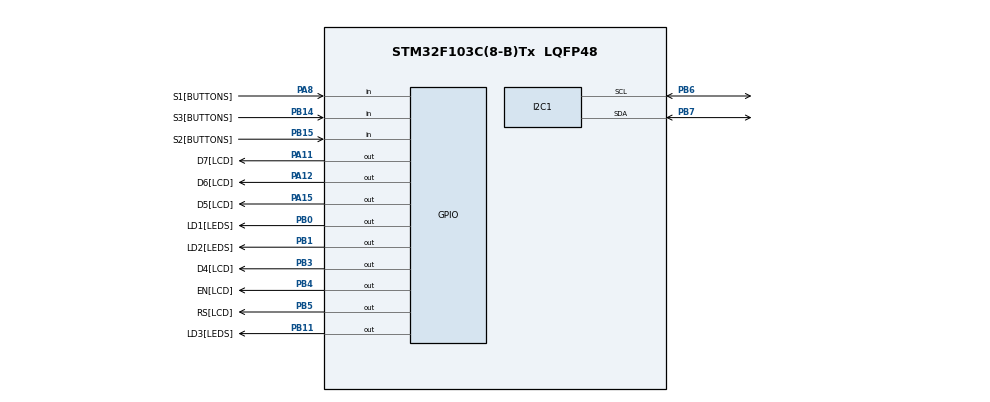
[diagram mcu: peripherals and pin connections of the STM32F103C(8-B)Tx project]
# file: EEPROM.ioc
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I2C1.I2C_Mode=I2C_Standard
Mcu.Family=STM32F1
Mcu.Name=STM32F103C(8-B)Tx
Mcu.Package=LQFP48
NVIC.PriorityGroup=NVIC_PRIORITYGROUP_4
PA11.GPIO_Label=D7[LCD]
PA11.Signal=GPIO_Output
PA12.GPIO_Label=D6[LCD]
PA12.Signal=GPIO_Output
PA13.Mode=Serial_Wire
PA13.Signal=SYS_JTMS-SWDIO
PA14.Mode=Serial_Wire
PA14.Signal=SYS_JTCK-SWCLK
PA15.GPIO_Label=D5[LCD]
PA15.Signal=GPIO_Output
PA8.GPIO_Label=S1[BUTTONS]
PA8.Signal=GPIO_Input
PB0.GPIO_Label=LD1[LEDS]
PB0.Signal=GPIO_Output
PB1.GPIO_Label=LD2[LEDS]
PB1.Signal=GPIO_Output
PB11.GPIO_Label=LD3[LEDS]
PB11.Signal=GPIO_Output
PB14.GPIO_Label=S3[BUTTONS]
PB14.Signal=GPIO_Input
PB15.GPIO_Label=S2[BUTTONS]
PB15.Signal=GPIO_Input
PB3.GPIO_Label=D4[LCD]
PB3.Signal=GPIO_Output
PB4.GPIO_Label=EN[LCD]
PB4.Signal=GPIO_Output
PB5.GPIO_Label=RS[LCD]
PB5.Signal=GPIO_Output
PB6.Mode=I2C
PB6.Signal=I2C1_SCL
PB7.Mode=I2C
PB7.Signal=I2C1_SDA
ProjectManager.HeapSize=0x200
ProjectManager.StackSize=0x400
ProjectManager.TargetToolchain=TrueSTUDIO
RCC.APB1Freq_Value=8000000
RCC.APB2Freq_Value=8000000
board=EEPROM

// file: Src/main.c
/**
  ******************************************************************************
  * @file           : main.c
  * @brief          : Main program body
  ******************************************************************************
  ** This notice applies to any and all portions of this file
  * that are not between comment pairs USER CODE BEGIN and
  * USER CODE END. Other portions of this file, whether
  * inserted by the user or by software development tools
  * are owned by their respective copyright owners.
  *
  * COPYRIGHT(c) 2018 STMicroelectronics
  *
  * Redistribution and use in source and binary forms, with or without modification,
  * are permitted provided that the following conditions are met:
  *   1. Redistributions of source code must retain the above copyright notice,
  *      this list of conditions and the following disclaimer.
  *   2. Redistributions in binary form must reproduce the above copyright notice,
  *      this list of conditions and the following disclaimer in the documentation
  *      and/or other materials provided with the distribution.
  *   3. Neither the name of STMicroelectronics nor the names of its contributors
  *      may be used to endorse or promote products derived from this software
  *      without specific prior written permission.
  *
  * THIS SOFTWARE IS PROVIDED BY THE COPYRIGHT HOLDERS AND CONTRIBUTORS "AS IS"
  * AND ANY EXPRESS OR IMPLIED WARRANTIES, INCLUDING, BUT NOT LIMITED TO, THE
  * IMPLIED WARRANTIES OF MERCHANTABILITY AND FITNESS FOR A PARTICULAR PURPOSE ARE
  * DISCLAIMED. IN NO EVENT SHALL THE COPYRIGHT HOLDER OR CONTRIBUTORS BE LIABLE
  * FOR ANY DIRECT, INDIRECT, INCIDENTAL, SPECIAL, EXEMPLARY, OR CONSEQUENTIAL
  * DAMAGES (INCLUDING, BUT NOT LIMITED TO, PROCUREMENT OF SUBSTITUTE GOODS OR
  * SERVICES; LOSS OF USE, DATA, OR PROFITS; OR BUSINESS INTERRUPTION) HOWEVER
  * CAUSED AND ON ANY THEORY OF LIABILITY, WHETHER IN CONTRACT, STRICT LIABILITY,
  * OR TORT (INCLUDING NEGLIGENCE OR OTHERWISE) ARISING IN ANY WAY OUT OF THE USE
  * OF THIS SOFTWARE, EVEN IF ADVISED OF THE POSSIBILITY OF SUCH DAMAGE.
  *
  ******************************************************************************
  */
#include "main.h"
#include "stm32f1xx_hal.h"

I2C_HandleTypeDef hi2c1;

/* USER CODE BEGIN PV */
/* Private variables ---------------------------------------------------------*/

uint8_t data[5]={0x01,0x03,0x04,0xAA,0xF0};
uint8_t data1[5]={0,0,0,0,0};
uint8_t init[2]={0,0};
uint8_t r_adr=0x00;

/* USER CODE END PV */

void SystemClock_Config(void);
static void MX_GPIO_Init(void);
static void MX_I2C1_Init(void);

/* USER CODE BEGIN PFP */
/* Private function prototypes -----------------------------------------------*/

/* USER CODE END PFP */

/* USER CODE BEGIN 0 */

void write_lcd (uint8_t data, uint8_t cmd_data)
{
	// identifica comando ou dado
	if (cmd_data) HAL_GPIO_WritePin(RS_GPIO_Port, RS_Pin, GPIO_PIN_SET);
	else 					HAL_GPIO_WritePin(RS_GPIO_Port, RS_Pin, GPIO_PIN_RESET);

	// 4 bits high
	if (data & 0x80) HAL_GPIO_WritePin (D7_GPIO_Port, D7_Pin, GPIO_PIN_SET);
	else						 HAL_GPIO_WritePin (D7_GPIO_Port, D7_Pin, GPIO_PIN_RESET);
	if (data & 0x40) HAL_GPIO_WritePin (D6_GPIO_Port, D6_Pin, GPIO_PIN_SET);
	else						 HAL_GPIO_WritePin (D6_GPIO_Port, D6_Pin, GPIO_PIN_RESET);
	if (data & 0x20) HAL_GPIO_WritePin (D5_GPIO_Port, D5_Pin, GPIO_PIN_SET);
	else						 HAL_GPIO_WritePin (D5_GPIO_Port, D5_Pin, GPIO_PIN_RESET);
	if (data & 0x10) HAL_GPIO_WritePin (D4_GPIO_Port, D4_Pin, GPIO_PIN_SET);
	else						 HAL_GPIO_WritePin (D4_GPIO_Port, D4_Pin, GPIO_PIN_RESET);

	HAL_GPIO_WritePin(EN_GPIO_Port, EN_Pin, GPIO_PIN_SET);
	HAL_Delay(2);
	HAL_GPIO_WritePin(EN_GPIO_Port, EN_Pin, GPIO_PIN_RESET);

	// 4 bits Low
	if (data & 0x08) HAL_GPIO_WritePin (D7_GPIO_Port, D7_Pin, GPIO_PIN_SET);
	else						 HAL_GPIO_WritePin (D7_GPIO_Port, D7_Pin, GPIO_PIN_RESET);
	if (data & 0x04) HAL_GPIO_WritePin (D6_GPIO_Port, D6_Pin, GPIO_PIN_SET);
	else						 HAL_GPIO_WritePin (D6_GPIO_Port, D6_Pin, GPIO_PIN_RESET);
	if (data & 0x02) HAL_GPIO_WritePin (D5_GPIO_Port, D5_Pin, GPIO_PIN_SET);
	else						 HAL_GPIO_WritePin (D5_GPIO_Port, D5_Pin, GPIO_PIN_RESET);
	if (data & 0x01) HAL_GPIO_WritePin (D4_GPIO_Port, D4_Pin, GPIO_PIN_SET);
	else						 HAL_GPIO_WritePin (D4_GPIO_Port, D4_Pin, GPIO_PIN_RESET);

	HAL_GPIO_WritePin(EN_GPIO_Port, EN_Pin, GPIO_PIN_SET);
	HAL_Delay(2);
	HAL_GPIO_WritePin(EN_GPIO_Port, EN_Pin, GPIO_PIN_RESET);
}

/* init_LCD - Inicializa o display em 4bits */
void init_lcd(void)
{
	write_lcd(0x33, 0);
	write_lcd(0x32, 0);
	write_lcd(0x28, 0);
	write_lcd(0x06, 0);
	write_lcd(0x0C, 0);
	write_lcd(0x01, 0);
}

/* string_lcd - escreve string no LCD */
void string_lcd (char *string)
{
	while(*string) write_lcd(*string++, 1);
}

/* USER CODE END 0 */

int main(void)
{

  /* MCU Configuration----------------------------------------------------------*/

  /* Reset of all peripherals, Initializes the Flash interface and the Systick. */
  HAL_Init();

  /* Configure the system clock */
  SystemClock_Config();

  /* Initialize all configured peripherals */
  MX_GPIO_Init();
  MX_I2C1_Init();
  /* USER CODE BEGIN 2 */

      init_lcd();
 	  write_lcd(0x80,0);
 	  string_lcd("DSF 2018");
 	  write_lcd(0xC0,0);
 	  string_lcd("I'm Alive!!");

  /* USER CODE END 2 */

  /* Infinite loop */
  while (1)
  {

  /* USER CODE BEGIN 3 */

	  //HAL_I2C_Mem_Write(&hi2c1,0xA0,0x03,I2C_MEMADD_SIZE_16BIT,data,5,100);

	  //HAL_Delay(1000);

	 // HAL_I2C_Mem_Read(&hi2c1,0xA0,0x03,I2C_MEMADD_SIZE_16BIT,data1,5,100);

  }
  /* USER CODE END 3 */

}

void SystemClock_Config(void)
{

  RCC_OscInitTypeDef RCC_OscInitStruct;
  RCC_ClkInitTypeDef RCC_ClkInitStruct;

    /**Initializes the CPU, AHB and APB busses clocks
    */
  RCC_OscInitStruct.OscillatorType = RCC_OSCILLATORTYPE_HSI;
  RCC_OscInitStruct.HSIState = RCC_HSI_ON;
  RCC_OscInitStruct.HSICalibrationValue = 16;
  RCC_OscInitStruct.PLL.PLLState = RCC_PLL_NONE;
  if (HAL_RCC_OscConfig(&RCC_OscInitStruct) != HAL_OK)
  {
    _Error_Handler(__FILE__, __LINE__);
  }

    /**Initializes the CPU, AHB and APB busses clocks
    */
  RCC_ClkInitStruct.ClockType = RCC_CLOCKTYPE_HCLK|RCC_CLOCKTYPE_SYSCLK
                              |RCC_CLOCKTYPE_PCLK1|RCC_CLOCKTYPE_PCLK2;
  RCC_ClkInitStruct.SYSCLKSource = RCC_SYSCLKSOURCE_HSI;
  RCC_ClkInitStruct.AHBCLKDivider = RCC_SYSCLK_DIV1;
  RCC_ClkInitStruct.APB1CLKDivider = RCC_HCLK_DIV1;
  RCC_ClkInitStruct.APB2CLKDivider = RCC_HCLK_DIV1;

  if (HAL_RCC_ClockConfig(&RCC_ClkInitStruct, FLASH_LATENCY_0) != HAL_OK)
  {
    _Error_Handler(__FILE__, __LINE__);
  }

    /**Configure the Systick interrupt time
    */
  HAL_SYSTICK_Config(HAL_RCC_GetHCLKFreq()/1000);

    /**Configure the Systick
    */
  HAL_SYSTICK_CLKSourceConfig(SYSTICK_CLKSOURCE_HCLK);

  /* SysTick_IRQn interrupt configuration */
  HAL_NVIC_SetPriority(SysTick_IRQn, 0, 0);
}

/* I2C1 init function */
static void MX_I2C1_Init(void)
{

  hi2c1.Instance = I2C1;
  hi2c1.Init.ClockSpeed = 400000;
  hi2c1.Init.DutyCycle = I2C_DUTYCYCLE_2;
  hi2c1.Init.OwnAddress1 = 0;
  hi2c1.Init.AddressingMode = I2C_ADDRESSINGMODE_7BIT;
  hi2c1.Init.DualAddressMode = I2C_DUALADDRESS_DISABLE;
  hi2c1.Init.OwnAddress2 = 0;
  hi2c1.Init.GeneralCallMode = I2C_GENERALCALL_DISABLE;
  hi2c1.Init.NoStretchMode = I2C_NOSTRETCH_DISABLE;
  if (HAL_I2C_Init(&hi2c1) != HAL_OK)
  {
    _Error_Handler(__FILE__, __LINE__);
  }

}

/** Configure pins as
        * Analog
        * Input
        * Output
        * EVENT_OUT
        * EXTI
*/
static void MX_GPIO_Init(void)
{

  GPIO_InitTypeDef GPIO_InitStruct;

  /* GPIO Ports Clock Enable */
  __HAL_RCC_GPIOB_CLK_ENABLE();
  __HAL_RCC_GPIOA_CLK_ENABLE();

  /*Configure GPIO pin Output Level */
  HAL_GPIO_WritePin(GPIOB, LD1_Pin|LD2_Pin|D4_Pin|EN_Pin
                          |RS_Pin, GPIO_PIN_RESET);

  /*Configure GPIO pin Output Level */
  HAL_GPIO_WritePin(GPIOA, D7_Pin|D6_Pin|D5_Pin, GPIO_PIN_RESET);

  /*Configure GPIO pins : LD1_Pin LD2_Pin D4_Pin EN_Pin
                           RS_Pin */
  GPIO_InitStruct.Pin = LD1_Pin|LD2_Pin|D4_Pin|EN_Pin
                          |RS_Pin;
  GPIO_InitStruct.Mode = GPIO_MODE_OUTPUT_PP;
  GPIO_InitStruct.Speed = GPIO_SPEED_FREQ_LOW;
  HAL_GPIO_Init(GPIOB, &GPIO_InitStruct);

  /*Configure GPIO pins : S3_Pin S2_Pin */
  GPIO_InitStruct.Pin = S3_Pin|S2_Pin;
  GPIO_InitStruct.Mode = GPIO_MODE_INPUT;
  GPIO_InitStruct.Pull = GPIO_NOPULL;
  HAL_GPIO_Init(GPIOB, &GPIO_InitStruct);

  /*Configure GPIO pin : S1_Pin */
  GPIO_InitStruct.Pin = S1_Pin;
  GPIO_InitStruct.Mode = GPIO_MODE_INPUT;
  GPIO_InitStruct.Pull = GPIO_NOPULL;
  HAL_GPIO_Init(S1_GPIO_Port, &GPIO_InitStruct);

  /*Configure GPIO pins : D7_Pin D6_Pin D5_Pin */
  GPIO_InitStruct.Pin = D7_Pin|D6_Pin|D5_Pin;
  GPIO_InitStruct.Mode = GPIO_MODE_OUTPUT_PP;
  GPIO_InitStruct.Speed = GPIO_SPEED_FREQ_LOW;
  HAL_GPIO_Init(GPIOA, &GPIO_InitStruct);

}

void _Error_Handler(char *file, int line)
{
  while(1)
  {
  }
}

/************************ (C) COPYRIGHT STMicroelectronics *****END OF FILE****/
